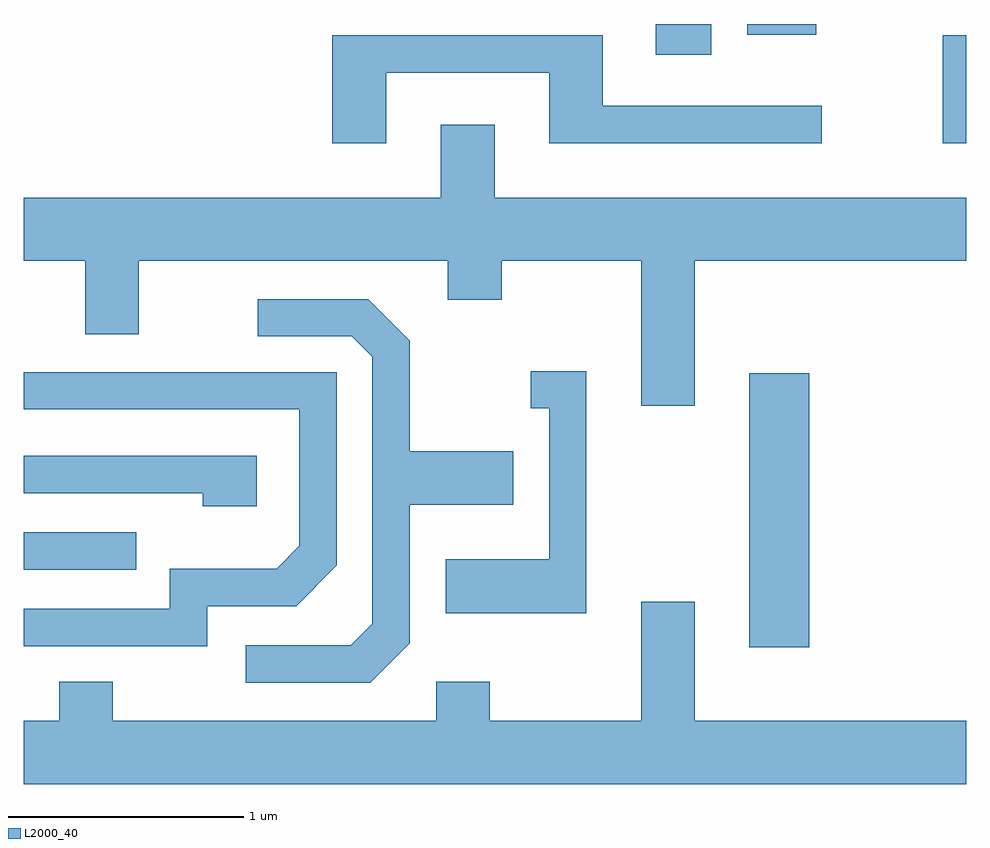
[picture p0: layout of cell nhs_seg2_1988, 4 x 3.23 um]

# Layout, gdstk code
import gdstk
lib = gdstk.Library(unit=1e-6, precision=1e-09)
def R(c, l, rs):  # rectangles x0, y0, x1, y1
    for r in rs: c.add(gdstk.rectangle(r[:2], r[2:], *l))
def P(c, l, *ps):  # polygons
    for p in ps: c.add(gdstk.Polygon(p, *l))
L2000_40 = (2000, 40)

nhs_seg2_1988 = lib.new_cell('nhs_seg2_1988')
R(nhs_seg2_1988, L2000_40, [(246.691,1011.156,246.944,1012.319), (243.611,1011.486,244.088,1011.644), (247.511,1013.296,247.611,1013.754), (246.293,1013.671,246.529,1013.802), (246.681,1013.756,246.974,1013.802)])
P(nhs_seg2_1988, L2000_40, [(245.149,1013.596),(245.841,1013.596),(245.841,1013.296),(246.998,1013.296),(246.998,1013.454),(246.069,1013.454),(246.069,1013.754),(244.921,1013.754),(244.921,1013.296),(245.149,1013.296)],
  [(245.381,1013.374),(245.381,1013.064),(243.611,1013.064),(243.611,1012.796),(243.871,1012.796),(243.871,1012.486),(244.099,1012.486),(244.099,1012.796),(245.411,1012.796),(245.411,1012.631),(245.639,1012.631),(245.639,1012.796),(246.231,1012.796),(246.231,1012.181),(246.459,1012.181),(246.459,1012.796),(247.611,1012.796),(247.611,1013.064),(245.609,1013.064),(245.609,1013.374)],
  [(245.249,1011.174),(245.249,1011.761),(245.689,1011.761),(245.689,1011.989),(245.249,1011.989),(245.249,1012.457),(245.072,1012.634),(244.603,1012.634),(244.603,1012.476),(245.004,1012.476),(245.091,1012.389),(245.091,1011.257),(244.999,1011.164),(244.553,1011.164),(244.553,1011.006),(245.082,1011.006)],
  [(245.999,1012.329),(245.763,1012.329),(245.763,1012.171),(245.841,1012.171),(245.841,1011.529),(245.401,1011.529),(245.401,1011.301),(245.999,1011.301)],
  [(244.389,1011.331),(244.767,1011.331),(244.939,1011.504),(244.939,1012.324),(243.611,1012.324),(243.611,1012.166),(244.781,1012.166),(244.781,1011.587),(244.684,1011.489),(244.231,1011.489),(244.231,1011.319),(243.611,1011.319),(243.611,1011.161),(244.389,1011.161)],
  [(244.599,1011.969),(243.611,1011.969),(243.611,1011.811),(244.371,1011.811),(244.371,1011.756),(244.599,1011.756)],
  [(243.761,1011.009),(243.761,1010.844),(243.611,1010.844),(243.611,1010.576),(247.611,1010.576),(247.611,1010.844),(246.459,1010.844),(246.459,1011.349),(246.231,1011.349),(246.231,1010.844),(245.589,1010.844),(245.589,1011.009),(245.361,1011.009),(245.361,1010.844),(243.989,1010.844),(243.989,1011.009)])

lib.write_gds('nhs_seg2_1988.gds')
